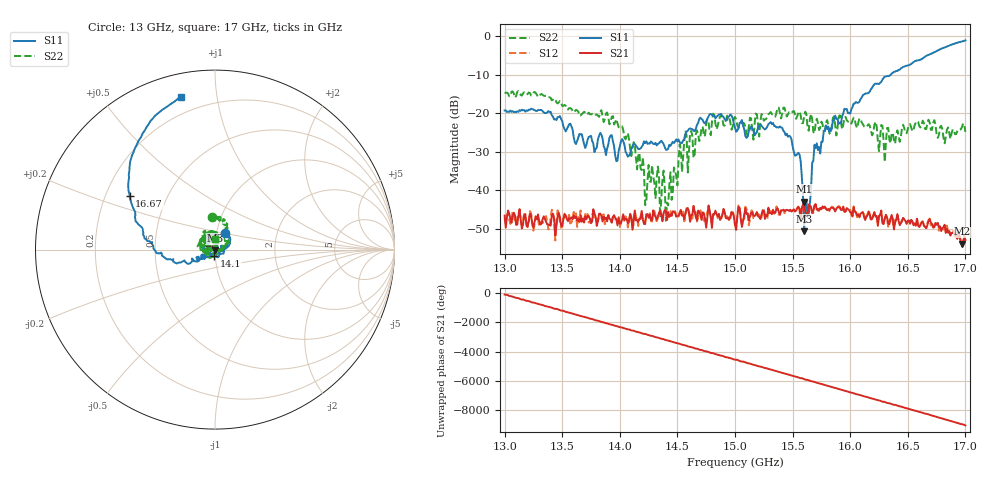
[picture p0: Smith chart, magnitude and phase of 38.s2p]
!Keysight Technologies,P9374A,MY57211807,A.19.30.04
!Date: Friday, May 01, 2026 14:14:13
!Correction: S11(C  2-Port  )
!S21(C  2-Port  )
!S12(C  2-Port  )
!S22(C  2-Port  )
!S2P File: Measurements: S11, S21, S12, S22:
# Hz S  RI  R 50
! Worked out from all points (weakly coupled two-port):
!   401 points, 13 GHz to 17 GHz, reference 50 ohm
!   highest |S21| = -42.88 dB at 15.6 GHz (marker M1); lowest = -53.8 dB at 16.97 GHz (marker M2)
!   lowest |S11| = -50.5 dB at 15.6 GHz (marker M3), VSWR 1.01, Z = 50 - j0.295 ohm
!   |S11| at or under -10 dB: start of sweep to 16.35 GHz
!   |S22| runs from -47.8 to -14.3 dB; largest |S21 - S12| = 0.0013
!   S11 on the Smith chart (normalised r, x): 13 GHz: 1.10, +0.21; 14.1 GHz: 0.99, -0.07; 16.67 GHz: 0.30, +0.26; 17 GHz: 0.11, +0.80
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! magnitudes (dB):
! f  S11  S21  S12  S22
! 13 GHz  -19.3  -46.5  -47.1  -14.8
! 13.38 GHz  -19.5  -48.9  -50.1  -15.9
! 13.67 GHz  -25.4  -48.1  -48.4  -20.2
! 13.95 GHz  -28.5  -46.4  -46.7  -22.9
! 14.1 GHz  -29.3  -46.9  -46.7  -31.1
! 14.24 GHz  -27.9  -46.1  -46.5  -37.7
! 14.27 GHz  -27.3  -47.7  -47.9  -37.8
! 14.34 GHz  -27.8  -45.8  -46.1  -36.0
! 14.41 GHz  -29.5  -47.7  -47.2  -43.1
! 14.56 GHz  -26.8  -47.5  -48.0  -27.1
! 14.79 GHz  -20.2  -47.0  -46.7  -25.7
! 15 GHz  -23.7  -48.9  -48.8  -21.0
! 15.47 GHz  -25.8  -45.3  -45.2  -19.7
! 15.56 GHz  -30.7  -44.7  -44.8  -19.6
! 15.6 GHz  -50.5  -42.9  -43.0  -21.0
! 15.62 GHz  -42.4  -46.2  -45.6  -20.3
! 15.67 GHz  -32.9  -45.9  -45.7  -21.6
! 15.79 GHz  -23.1  -44.8  -44.6  -22.5
! 16.34 GHz  -10.3  -48.8  -47.6  -26.9
! 16.67 GHz  -5.0  -49.0  -48.4  -22.6
! 16.97 GHz  -1.4  -53.8  -54.4  -23.6
! 17 GHz  -1.2  -52.8  -52.9  -24.8
